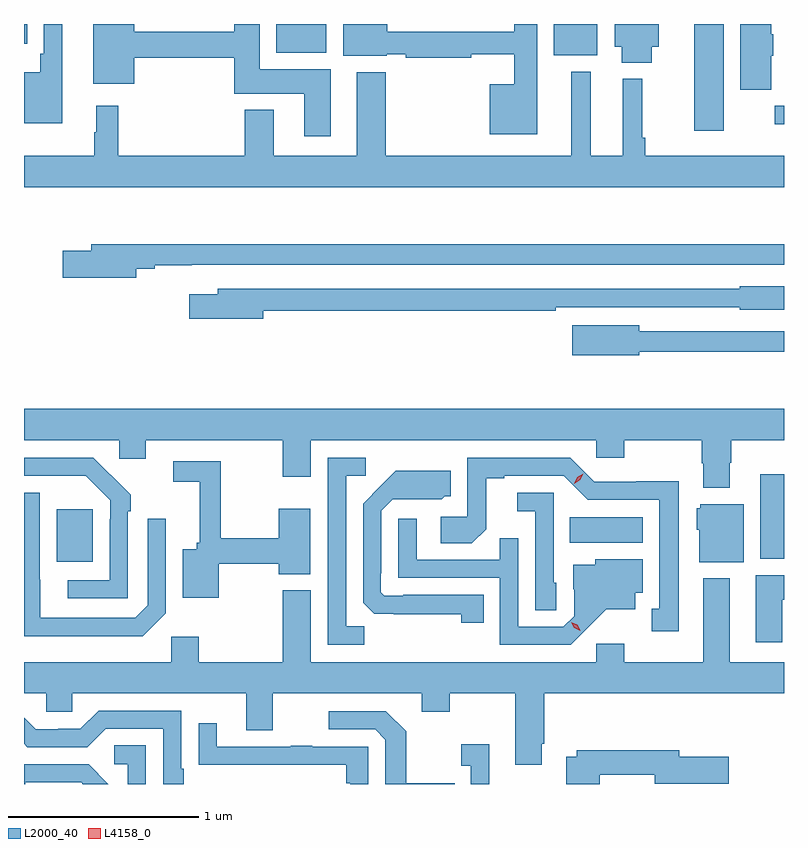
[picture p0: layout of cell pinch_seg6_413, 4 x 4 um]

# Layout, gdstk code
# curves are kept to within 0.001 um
import gdstk
lib = gdstk.Library(unit=1e-6, precision=1e-09)
def R(c, l, rs):  # rectangles x0, y0, x1, y1
    for r in rs: c.add(gdstk.rectangle(r[:2], r[2:], *l))
def P(c, l, *ps):  # polygons
    for p in ps: c.add(gdstk.Polygon(p, *l))
L2000_40 = (2000, 40)
L4158_0 = (4158, 0)

pinch_seg6_413 = lib.new_cell('pinch_seg6_413')
R(pinch_seg6_413, L2000_40, [(648.155,922.721,648.343,922.996), (651.857,922.736,651.982,923.179), (650.854,922.82,651.238,922.954), (651.509,924.987,651.664,925.55), (651.933,925.022,651.982,925.119), (650.771,925.385,650.998,925.55), (649.31,925.4,649.573,925.55), (647.982,925.445,647.998,925.55)])
P(pinch_seg6_413, L2000_40, [(651.916,925.383),(651.925,925.383),(651.925,925.497),(651.916,925.497),(651.916,925.55),(651.752,925.55),(651.752,925.203),(651.916,925.203)],
  [(649.597,925.312),(649.222,925.312),(649.222,925.55),(649.088,925.55),(649.088,925.508),(648.562,925.508),(648.562,925.55),(648.347,925.55),(648.347,925.235),(648.562,925.235),(648.562,925.372),(649.088,925.372),(649.088,925.184),(649.457,925.184),(649.457,924.96),(649.597,924.96)],
  [(650.683,925.55),(650.562,925.55),(650.562,925.508),(649.894,925.508),(649.894,925.55),(649.661,925.55),(649.661,925.382),(649.89,925.382),(649.89,925.392),(649.99,925.392),(649.99,925.372),(650.336,925.372),(650.336,925.391),(650.562,925.391),(650.562,925.234),(650.432,925.234),(650.432,924.971),(650.683,924.971)],
  [(651.286,925.43),(651.322,925.43),(651.322,925.55),(651.092,925.55),(651.092,925.43),(651.128,925.43),(651.128,925.346),(651.286,925.346)],
  [(648.184,925.55),(648.087,925.55),(648.087,925.393),(648.067,925.393),(648.067,925.297),(647.982,925.297),(647.982,925.028),(648.184,925.028)],
  [(651.982,924.856),(651.251,924.856),(651.251,924.952),(651.236,924.952),(651.236,925.261),(651.134,925.261),(651.134,924.856),(650.965,924.856),(650.965,925.3),(650.861,925.3),(650.861,924.856),(649.886,924.856),(649.886,925.297),(649.733,925.297),(649.733,924.856),(649.297,924.856),(649.297,925.099),(649.145,925.099),(649.145,924.856),(648.479,924.856),(648.479,925.12),(648.362,925.12),(648.362,924.98),(648.351,924.98),(648.351,924.856),(647.982,924.856),(647.982,924.692),(651.982,924.692)],
  [(648.574,924.262),(648.67,924.262),(648.67,924.281),(648.864,924.281),(648.864,924.282),(651.982,924.282),(651.982,924.391),(648.335,924.391),(648.335,924.357),(648.186,924.357),(648.186,924.215),(648.574,924.215)],
  [(649.24,924.04),(650.78,924.04),(650.78,924.06),(651.75,924.06),(651.75,924.047),(651.982,924.047),(651.982,924.169),(651.75,924.169),(651.75,924.156),(649.001,924.156),(649.001,924.127),(648.852,924.127),(648.852,923.998),(649.24,923.998)],
  [(651.22,923.826),(651.982,923.826),(651.982,923.934),(651.22,923.934),(651.22,923.965),(650.868,923.965),(650.868,923.807),(651.22,923.807)],
  [(647.982,923.36),(648.483,923.36),(648.483,923.262),(648.622,923.262),(648.622,923.36),(649.345,923.36),(649.345,923.166),(649.492,923.166),(649.492,923.36),(650.994,923.36),(650.994,923.267),(651.141,923.267),(651.141,923.36),(651.55,923.36),(651.55,923.239),(651.557,923.239),(651.557,923.108),(651.697,923.108),(651.697,923.24),(651.705,923.24),(651.705,923.36),(651.982,923.36),(651.982,923.524),(647.982,923.524)],
  [(648.528,922.985),(648.543,922.985),(648.543,923.073),(648.346,923.268),(647.982,923.268),(647.982,923.172),(648.307,923.172),(648.435,923.043),(648.435,922.943),(648.432,922.943),(648.432,922.623),(648.213,922.623),(648.213,922.527),(648.528,922.527)],
  [(649.773,922.379),(649.677,922.379),(649.677,923.172),(649.78,923.172),(649.78,923.268),(649.581,923.268),(649.581,922.284),(649.773,922.284)],
  [(651.427,923.144),(651.204,923.144),(651.204,923.142),(650.982,923.142),(650.856,923.268),(650.316,923.268),(650.316,922.956),(650.175,922.956),(650.175,922.816),(650.339,922.816),(650.415,922.892),(650.415,923.16),(650.509,923.16),(650.509,923.172),(650.823,923.172),(650.949,923.046),(651.326,923.046),(651.326,922.473),(651.287,922.473),(651.287,922.353),(651.427,922.353)],
  [(649.006,922.708),(649.322,922.708),(649.322,922.655),(649.489,922.655),(649.489,922.999),(649.322,922.999),(649.322,922.844),(649.018,922.844),(649.018,923.25),(648.768,923.25),(648.768,923.142),(648.908,923.142),(648.908,922.821),(648.89,922.821),(648.89,922.786),(648.818,922.786),(648.818,922.529),(649.006,922.529)],
  [(650.402,922.545),(649.978,922.545),(649.978,922.542),(649.878,922.542),(649.86,922.56),(649.86,922.66),(649.863,922.66),(649.863,922.989),(649.923,923.049),(650.18,923.048),(650.196,923.064),(650.227,923.064),(650.227,923.2),(649.939,923.2),(649.767,923.026),(649.767,922.504),(649.826,922.445),(650.284,922.444),(650.284,922.398),(650.402,922.398)],
  [(650.784,922.608),(650.769,922.608),(650.769,923.082),(650.577,923.082),(650.577,922.985),(650.673,922.985),(650.673,922.465),(650.784,922.465)],
  [(648.729,922.449),(648.729,922.945),(648.633,922.945),(648.633,922.491),(648.567,922.425),(648.067,922.425),(648.067,922.625),(648.066,922.625),(648.066,923.082),(647.982,923.082),(647.982,922.328),(648.608,922.328)],
  [(651.769,923.023),(651.54,923.023),(651.54,923.001),(651.524,923.001),(651.524,922.887),(651.536,922.887),(651.536,922.718),(651.769,922.718)],
  [(650.944,922.367),(651.047,922.469),(651.199,922.469),(651.199,922.556),(651.238,922.556),(651.238,922.732),(650.988,922.732),(650.988,922.705),(650.873,922.705),(650.873,922.576),(650.877,922.576),(650.877,922.434),(650.82,922.377),(650.583,922.377),(650.583,922.844),(650.485,922.844),(650.485,922.731),(650.049,922.731),(650.049,922.945),(649.953,922.945),(649.953,922.635),(650.487,922.635),(650.487,922.284),(650.86,922.284)],
  [(651.973,922.52),(651.982,922.52),(651.982,922.648),(651.833,922.648),(651.833,922.296),(651.973,922.296)],
  [(650.707,921.763),(650.72,921.763),(650.72,922.028),(651.982,922.028),(651.982,922.192),(651.697,922.192),(651.697,922.633),(651.557,922.633),(651.557,922.192),(651.141,922.192),(651.141,922.288),(650.994,922.288),(650.994,922.192),(649.492,922.192),(649.492,922.57),(649.345,922.57),(649.345,922.192),(648.903,922.192),(648.903,922.324),(648.756,922.324),(648.756,922.192),(647.982,922.192),(647.982,922.028),(648.099,922.028),(648.099,921.93),(648.237,921.93),(648.237,922.028),(649.151,922.028),(649.151,921.834),(649.291,921.834),(649.291,922.028),(650.075,922.028),(650.075,921.929),(650.223,921.929),(650.223,922.028),(650.567,922.028),(650.567,921.651),(650.707,921.651)],
  [(648.823,921.631),(648.81,921.631),(648.81,921.936),(648.375,921.936),(648.279,921.84),(648.161,921.84),(648.161,921.837),(648.045,921.837),(647.982,921.9),(647.982,921.762),(648,921.744),(648.315,921.744),(648.411,921.84),(648.714,921.84),(648.714,921.55),(648.823,921.55)],
  [(650.249,921.555),(649.993,921.555),(649.993,921.827),(649.887,921.933),(649.587,921.933),(649.587,921.837),(649.83,921.837),(649.884,921.783),(649.884,921.55),(650.249,921.55)],
  [(649.794,921.747),(649.499,921.747),(649.499,921.752),(649.387,921.752),(649.387,921.747),(648.997,921.747),(648.997,921.871),(648.901,921.871),(648.901,921.652),(649.003,921.652),(649.003,921.651),(649.678,921.651),(649.678,921.554),(649.698,921.554),(649.698,921.55),(649.794,921.55)],
  [(650.431,921.76),(650.283,921.76),(650.283,921.647),(650.334,921.647),(650.334,921.55),(650.431,921.55)],
  [(648.624,921.755),(648.456,921.755),(648.456,921.654),(648.528,921.654),(648.528,921.55),(648.624,921.55)],
  [(651.011,921.598),(651.302,921.598),(651.302,921.551),(651.691,921.551),(651.691,921.693),(651.43,921.693),(651.43,921.727),(650.892,921.727),(650.892,921.694),(650.836,921.694),(650.836,921.55),(651.011,921.55)],
  [(647.989,921.558),(648.284,921.558),(648.292,921.55),(648.426,921.55),(648.322,921.654),(647.982,921.654),(647.982,921.55),(647.989,921.55)])
P(pinch_seg6_413, L4158_0, [(650.878,923.131),(650.878,923.132),(650.894,923.164),(650.925,923.184),(650.926,923.184),(650.926,923.183),(650.909,923.151),(650.878,923.131)],
  [(650.91,922.357),(650.879,922.373),(650.861,922.402),(650.861,922.402),(650.862,922.402),(650.893,922.387),(650.91,922.358),(650.91,922.357)])

lib.write_gds('pinch_seg6_413.gds')
